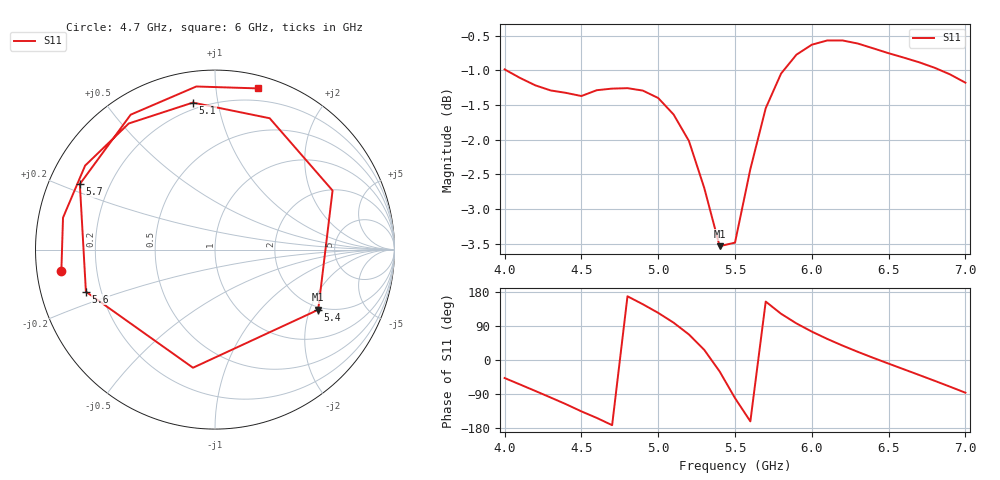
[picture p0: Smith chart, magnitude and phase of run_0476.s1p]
! Touchstone file exported from HFSS 2024.2.0
!  File:  C:/Users/wsak9/Desktop/Sim Fast/Widenad Patch/WP_AI_V1_sweep.aedt
!  Generated:  11:51:26 AM Oct 14, 2026
!  Design:  A1_model
!  Project:  WP_AI_V1_sweep
!  Setup:  Setup1
!  Solution:  Sweep
! Variables:
!  Air_gap = 4.42mm
!  Curve_Amp1 = 1.42
!  Curve_len1 = 1
!  Curve_pos = 11.195mm
!  Extra = 6.86mm
!  H_sub = 0.79mm
!  L_Patch = 18.39mm
!  L_Patch1 = 21.83mm
!  Sx = 4.28mm
!  Sy = 2.37mm
!  WS = 1.39mm
!  W_Patch = 20.76mm
!  W_Patch1 = 14.97mm
!Data is not renormalized
# GHz S MA
! Terminal data exported
! Port[1] = 1
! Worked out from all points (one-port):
!   31 points, 4 GHz to 7 GHz, reference per port
!   lowest |S11| = -3.5 dB at 5.4 GHz (marker M1), VSWR 4.98
!   |S11| at or under -10 dB: nowhere
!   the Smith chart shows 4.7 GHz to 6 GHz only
!   S11 on the Smith chart (normalised r, x): 4.7 GHz: 0.07, -0.07; 5.1 GHz: 0.16, +0.85; 5.4 GHz: 1.90, -2.29; 5.6 GHz: 0.14, -0.16; 5.7 GHz: 0.09, +0.23; 6 GHz: 0.10, +1.30
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4  0.8926 -47.6
4.1  0.8801 -64.6
4.2  0.8693 -81.7
4.3  0.862 -99.0
4.4  0.8585 -116.7
4.6  0.8623 -152.8
4.7  0.8646 -172.0
4.8  0.8652 168.1
4.9  0.8618 147.1
5  0.8512 124.4
5.1  0.8283 98.6
5.2  0.7927 67.4
5.3  0.7331 26.7
5.4  0.6656 -30.2
5.5  0.6696 -100.6
5.6  0.7565 -161.9
5.7  0.8369 154.1
5.8  0.8865 122.0
5.9  0.9147 96.5
6  0.9299 75.0
6.1  0.9365 55.7
6.2  0.9365 38.0
6.3  0.9317 21.5
6.4  0.9244 5.7
6.5  0.9169 -9.6
6.7  0.9031 -39.7
6.9  0.8853 -70.4
7  0.8732 -86.3
